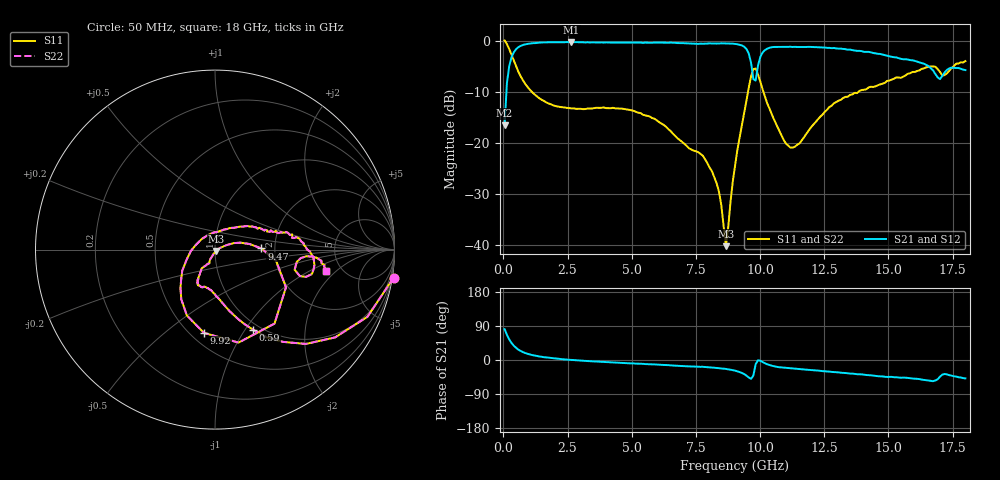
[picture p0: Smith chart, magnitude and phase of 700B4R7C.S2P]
!  American Technical Ceramics  Date:  3/13/98
!  One Norden Lane
!  Huntington Station,  NY.  11746-2102
!  Tel:  (516) 547-5700  Fax:  (516) 547-5748
!  Part Number  700B4R7C
!  Description: Porcelain, High Q, Low ESR
!  Application: Bypass, Coupling, Timing, Feedback
!  Tuning, Impedance Match, Blocking
# GHZ S DB R 50
! Freq  |S11|  S11 Ph  |S21|  S21 Ph  |S12|  S12 Ph  |S22|  S22 Ph
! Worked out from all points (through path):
!   201 points, 50 MHz to 18 GHz, reference 50 ohm
!   highest |S21| = -0.24 dB at 2.65 GHz (marker M1); lowest = -16.5 dB at 50 MHz (marker M2)
!   lowest |S11| = -40.2 dB at 8.67 GHz (marker M3), VSWR 1.02, Z = 50.6 - j0.78 ohm
!   |S11| at or under -10 dB: 1.112 GHz to 9.532 GHz (8.42 GHz wide, 158 % of centre); 10.13 GHz to 13.83 GHz (3.699 GHz wide, 30.9 % of centre)
!   |S22| runs from -40.2 to 0.1 dB; largest |S21 - S12| = 0
!   S11 on the Smith chart (normalised r, x): 50 MHz: -1, -13; 590 MHz: 0.92, -1.09; 9.47 GHz: 1.70, +0.02; 9.92 GHz: 0.58, -0.69; 18 GHz: 3.78, -1.53
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0.05  0.06 -9.0  -16.52 81.4  -16.52 81.4  0.06 -9.0
0.14  -0.65 -23.8  -8.28 66.4  -8.28 66.4  -0.65 -23.8
0.23  -1.63 -36.2  -4.96 54.5  -4.96 54.5  -1.63 -36.2
0.59  -6.11 -64.5  -1.25 27.0  -1.25 27.0  -6.11 -64.5
1.4  -11.24 -85.7  -0.37 9.4  -0.37 9.4  -11.24 -85.7
2.65  -13.23 -100.8  -0.24 0.3  -0.24 0.3  -13.23 -100.8
3.1  -13.38 -105.7  -0.29 -1.8  -0.29 -1.8  -13.38 -105.7
6.06  -15.89 -121.5  -0.35 -12.5  -0.35 -12.5  -15.89 -121.5
8.13  -25.56 -115.3  -0.54 -19.9  -0.54 -19.9  -25.56 -115.3
8.4  -29.53 -112.1  -0.54 -21.5  -0.54 -21.5  -29.53 -112.1
8.67  -40.20 -52.1  -0.53 -23.6  -0.53 -23.6  -40.20 -52.1
9.03  -24.33 21.6  -0.63 -28.1  -0.63 -28.1  -24.33 21.6
9.47  -11.74 1.4  -1.61 -41.1  -1.61 -41.1  -11.74 1.4
9.74  -5.53 -51.2  -7.50 -41.1  -7.50 -41.1  -5.53 -51.2
9.92  -6.59 -97.5  -4.89 -0.7  -4.89 -0.7  -6.59 -97.5
10.28  -12.25 -140.2  -1.55 -11.3  -1.55 -11.3  -12.25 -140.2
11.18  -20.89 129.1  -1.17 -22.0  -1.17 -22.0  -20.89 129.1
12.08  -16.38 52.9  -1.24 -26.9  -1.24 -26.9  -16.38 52.9
15.04  -7.78 14.0  -3.05 -44.5  -3.05 -44.5  -7.78 14.0
16.65  -5.03 -8.8  -5.36 -55.1  -5.36 -55.1  -5.03 -8.8
17.1  -6.79 -14.2  -6.86 -38.6  -6.86 -38.6  -6.79 -14.2
18  -3.98 -11.1  -5.74 -48.6  -5.74 -48.6  -3.98 -11.1
